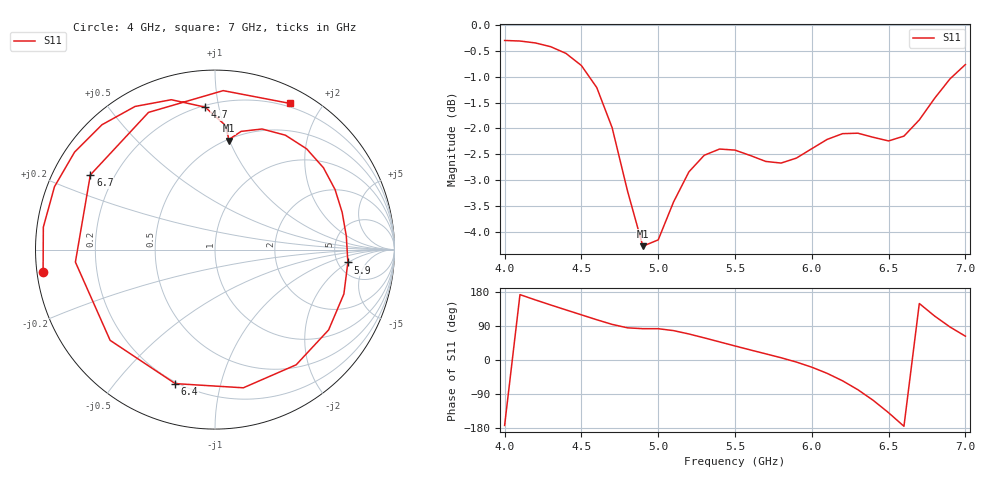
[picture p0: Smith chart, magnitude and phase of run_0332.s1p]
! Touchstone file exported from HFSS 2024.2.0
!  File:  C:/Users/wsak9/Desktop/Sim Fast/Widenad Patch/WP_AI_V1_sweep.aedt
!  Generated:  05:03:48 AM Oct 14, 2026
!  Design:  A1_model
!  Project:  WP_AI_V1_sweep
!  Setup:  Setup1
!  Solution:  Sweep
! Variables:
!  Air_gap = 2.95mm
!  Curve_Amp1 = 1.88
!  Curve_len1 = 1
!  Curve_pos = 11.245mm
!  Extra = 4.33mm
!  H_sub = 0.79mm
!  L_Patch = 18.49mm
!  L_Patch1 = 16.35mm
!  Sx = 2.3mm
!  Sy = 3.21mm
!  WS = 0.46mm
!  W_Patch = 14.33mm
!  W_Patch1 = 12.02mm
!Data is not renormalized
# GHz S MA
! Terminal data exported
! Port[1] = 1
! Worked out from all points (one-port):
!   31 points, 4 GHz to 7 GHz, reference per port
!   lowest |S11| = -4.3 dB at 4.9 GHz (marker M1), VSWR 4.15
!   |S11| at or under -10 dB: nowhere
!   S11 on the Smith chart (normalised r, x): 4 GHz: 0.02, -0.06; 4.7 GHz: 0.21, +0.91; 5.9 GHz: 6.16, -1.97; 6.4 GHz: 0.19, -0.73; 6.7 GHz: 0.11, +0.27; 7 GHz: 0.16, +1.63
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4  0.9658 -172.6
4.1  0.9646 172.5
4.2  0.9605 158.6
4.3  0.9525 145.2
4.4  0.9383 132.1
4.5  0.9135 119.2
4.6  0.8698 106.3
4.7  0.7957 94.0
4.8  0.6915 84.9
4.9  0.6115 82.6
5  0.6201 82.6
5.1  0.6746 77.5
5.2  0.7213 68.7
5.3  0.7484 58.4
5.5  0.757 37.0
5.7  0.7382 16.3
5.9  0.7437 -5.5
6  0.7594 -19.0
6.1  0.7752 -35.2
6.2  0.7852 -54.8
6.3  0.786 -78.4
6.4  0.7788 -106.5
6.5  0.7726 -139.1
6.6  0.7809 -174.9
6.7  0.8096 149.1
6.8  0.8495 115.9
6.9  0.8869 87.1
7  0.9155 62.8
